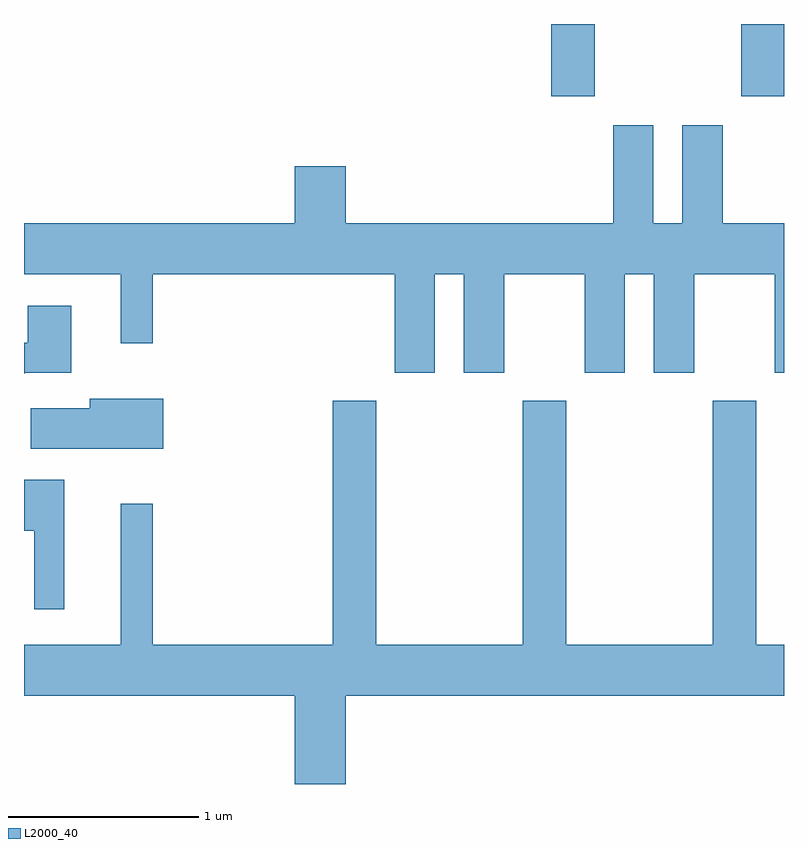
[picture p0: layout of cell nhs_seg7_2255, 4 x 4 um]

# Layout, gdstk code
import gdstk
lib = gdstk.Library(unit=1e-6, precision=1e-09)
def R(c, l, rs):  # rectangles x0, y0, x1, y1
    for r in rs: c.add(gdstk.rectangle(r[:2], r[2:], *l))
def P(c, l, *ps):  # polygons
    for p in ps: c.add(gdstk.Polygon(p, *l))
L2000_40 = (2000, 40)

nhs_seg7_2255 = lib.new_cell('nhs_seg7_2255')
R(nhs_seg7_2255, L2000_40, [(256.386,1761.871,256.614,1762.252), (257.386,1761.871,257.611,1762.252)])
P(nhs_seg7_2255, L2000_40, [(255.774,1760.936),(255.926,1760.936),(255.926,1760.416),(256.139,1760.416),(256.139,1760.936),(256.561,1760.936),(256.561,1760.416),(256.774,1760.416),(256.774,1760.936),(256.926,1760.936),(256.926,1760.416),(257.139,1760.416),(257.139,1760.936),(257.561,1760.936),(257.561,1760.416),(257.611,1760.416),(257.611,1761.204),(257.289,1761.204),(257.289,1761.719),(257.076,1761.719),(257.076,1761.204),(256.924,1761.204),(256.924,1761.719),(256.711,1761.719),(256.711,1761.204),(255.304,1761.204),(255.304,1761.504),(255.036,1761.504),(255.036,1761.204),(253.611,1761.204),(253.611,1760.936),(254.121,1760.936),(254.121,1760.573),(254.289,1760.573),(254.289,1760.936),(255.561,1760.936),(255.561,1760.416),(255.774,1760.416)],
  [(253.617,1760.416),(253.859,1760.416),(253.859,1760.769),(253.631,1760.769),(253.631,1760.574),(253.611,1760.574),(253.611,1760.41)],
  [(254.344,1760.279),(253.956,1760.279),(253.956,1760.229),(253.646,1760.229),(253.646,1760.016),(254.344,1760.016)],
  [(255.304,1758.716),(257.611,1758.716),(257.611,1758.984),(257.464,1758.984),(257.464,1760.269),(257.236,1760.269),(257.236,1758.984),(256.464,1758.984),(256.464,1760.269),(256.236,1760.269),(256.236,1758.984),(255.464,1758.984),(255.464,1760.269),(255.236,1760.269),(255.236,1758.984),(254.289,1758.984),(254.289,1759.728),(254.121,1759.728),(254.121,1758.984),(253.611,1758.984),(253.611,1758.716),(255.036,1758.716),(255.036,1758.252),(255.304,1758.252)],
  [(253.824,1759.854),(253.611,1759.854),(253.611,1759.586),(253.666,1759.586),(253.666,1759.173),(253.824,1759.173)])

lib.write_gds('nhs_seg7_2255.gds')
